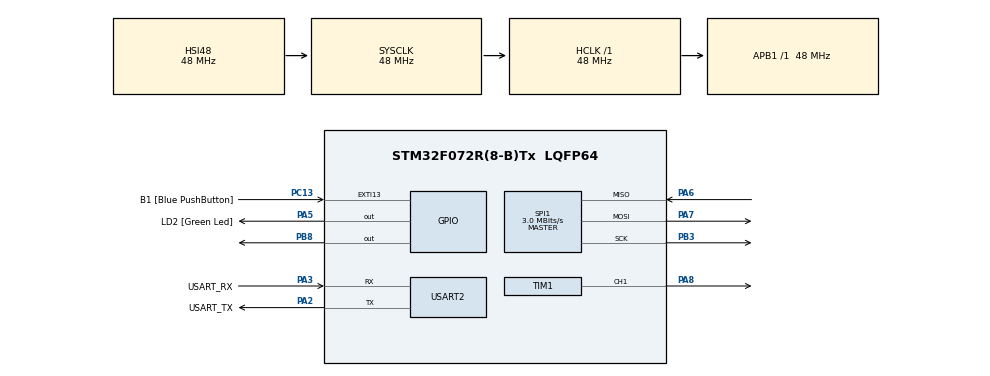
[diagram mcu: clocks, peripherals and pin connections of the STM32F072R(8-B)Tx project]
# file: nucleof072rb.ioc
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Mcu.Family=STM32F0
Mcu.Name=STM32F072R(8-B)Tx
Mcu.Package=LQFP64
PA13.GPIO_Label=TMS
PA13.Mode=Serial_Wire
PA13.Signal=SYS_SWDIO
PA14.GPIO_Label=TCK
PA14.Mode=Serial_Wire
PA14.Signal=SYS_SWCLK
PA2.GPIO_Label=USART_TX
PA2.GPIO_Mode=GPIO_MODE_AF_PP
PA2.GPIO_PuPd=GPIO_NOPULL
PA2.GPIO_Speed=GPIO_SPEED_FREQ_LOW
PA2.Mode=Asynchronous
PA2.Signal=USART2_TX
PA3.GPIO_Label=USART_RX
PA3.GPIO_Mode=GPIO_MODE_AF_PP
PA3.GPIO_PuPd=GPIO_NOPULL
PA3.GPIO_Speed=GPIO_SPEED_FREQ_LOW
PA3.Mode=Asynchronous
PA3.Signal=USART2_RX
PA5.GPIO_Label=LD2 [Green Led]
PA5.GPIO_Mode=GPIO_MODE_OUTPUT_PP
PA5.GPIO_PuPd=GPIO_NOPULL
PA5.GPIO_Speed=GPIO_SPEED_FREQ_LOW
PA5.Signal=GPIO_Output
PA6.Mode=Full_Duplex_Master
PA6.Signal=SPI1_MISO
PA7.Mode=Full_Duplex_Master
PA7.Signal=SPI1_MOSI
PA8.Signal=S_TIM1_CH1
PB3.Mode=Full_Duplex_Master
PB3.Signal=SPI1_SCK
PB8.Signal=GPIO_Output
PC13.GPIO_Label=B1 [Blue PushButton]
PC13.GPIO_ModeDefaultEXTI=GPIO_MODE_IT_FALLING
PC13.Signal=GPXTI13
PC14-OSC32_IN.Mode=LSE-External-Oscillator
PC14-OSC32_IN.Signal=RCC_OSC32_IN
PC15-OSC32_OUT.Mode=LSE-External-Oscillator
PC15-OSC32_OUT.Signal=RCC_OSC32_OUT
PF0-OSC_IN.Mode=HSE-External-Clock-Source
PF0-OSC_IN.Signal=RCC_OSC_IN
PF1-OSC_OUT.Signal=RCC_OSC_OUT
ProjectManager.HeapSize=0x200
ProjectManager.StackSize=0x400
ProjectManager.TargetToolchain=STM32CubeIDE
RCC.AHBFreq_Value=48000000
RCC.APB1Freq_Value=48000000
RCC.APB1TimFreq_Value=48000000
RCC.FLatency-AdvancedSettings=FLASH_LATENCY_1
RCC.HCLKFreq_Value=48000000
RCC.PLLDivider=RCC_PREDIV_DIV2
RCC.PLLMUL=RCC_PLL_MUL12
RCC.PREFETCH_ENABLE-AdvancedSettings=1
RCC.SYSCLKFreq_VALUE=48000000
RCC.SYSCLKSource=RCC_SYSCLKSOURCE_HSI48
SH.S_TIM1_CH1.0=TIM1_CH1,PWM Generation1 CH1
SPI1.BaudRatePrescaler=SPI_BAUDRATEPRESCALER_16
SPI1.CLKPhase=SPI_PHASE_1EDGE
SPI1.CLKPolarity=SPI_POLARITY_LOW
SPI1.CalculateBaudRate=3.0 MBits/s
SPI1.DataSize=SPI_DATASIZE_8BIT
SPI1.Direction=SPI_DIRECTION_2LINES
SPI1.Mode=SPI_MODE_MASTER
SPI1.VirtualType=VM_MASTER
TIM1.Channel-PWM\ Generation1\ CH1=TIM_CHANNEL_1
TIM1.Period=64000
TIM1.Prescaler=14
USART2.VirtualMode=VM_ASYNC
USART2.VirtualMode-Asynchronous=VM_ASYNC
VP_TIM1_VS_ClockSourceINT.Mode=Internal
board=NUCLEO-F072RB

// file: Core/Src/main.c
/* USER CODE BEGIN Header */
/**
  ******************************************************************************
  * @file           : main.c
  * @brief          : Main program body
  ******************************************************************************
  * @attention
  *
  * <h2><center>&copy; Copyright (c) 2021 STMicroelectronics.
  * All rights reserved.</center></h2>
  *
  * This software component is licensed by ST under BSD 3-Clause license,
  * the "License"; You may not use this file except in compliance with the
  * License. You may obtain a copy of the License at:
  *                        opensource.org/licenses/BSD-3-Clause
  *
  ******************************************************************************
  */
/* USER CODE END Header */
#include "main.h"
#include "spi.h"
#include "tim.h"
#include "usart.h"
#include "gpio.h"

/* USER CODE BEGIN Includes */
#include <stdio.h>
#include <stdlib.h>
/* USER CODE END Includes */

/* USER CODE BEGIN PD */
#define ADC_START_BIT		(1U<<0) // 0000 0001 in binary
#define ADC_TX_CONFIG		(1U<<7) // 1000 0000 in binary

#define MCP4000_GPIO_Port	GPIOB
#define MCP4000_GPIO_PIN	8

#define BITMASK_2BITS		(1U<<0 | 1U<<1)

/* USER CODE END PD */

/* USER CODE BEGIN PV */
static uint8_t adc_tx_[2];

/* USER CODE END PV */

void SystemClock_Config(void);

int main(void)
{

  /* USER CODE BEGIN 1 */
  adc_tx_[0] = ADC_START_BIT;
  adc_tx_[1] = ADC_TX_CONFIG;
  uint8_t adc_rx[3];
  uint16_t pwm_data, pwm_counts;
  uint8_t spi_error_code;
  /* USER CODE END 1 */

  /* MCU Configuration--------------------------------------------------------*/

  /* Reset of all peripherals, Initializes the Flash interface and the Systick. */
  HAL_Init();

  /* Configure the system clock */
  SystemClock_Config();

  /* Initialize all configured peripherals */
  MX_GPIO_Init();
  MX_USART2_UART_Init();
  MX_SPI1_Init();
  MX_TIM1_Init();
  /* USER CODE BEGIN 2 */
  HAL_TIM_PWM_Start (&htim1, TIM_CHANNEL_1);
  /* USER CODE END 2 */

  /* Infinite loop */
  /* USER CODE BEGIN WHILE */
  while (1)
  {
	  // 1. Begin transaction by pulling CS low
	  HAL_GPIO_WritePin (MCP4000_GPIO_Port, MCP4000_GPIO_PIN, GPIO_PIN_RESET);

	  // 2. Receive transmission from the ADC MCP4000 via SPI
	  spi_error_code = HAL_SPI_TransmitReceive(&hspi1, adc_tx_, adc_rx, sizeof(adc_tx_), 100); // 100 ms timeout
	  if (spi_error_code != HAL_OK)
		  printf("SPI HAL Error Code: %d", spi_error_code);
	  else
		  printf("SPI Transmit & Receive Successful.");

	  // 3.End transaction by pulling CS high
	  HAL_GPIO_WritePin (MCP4000_GPIO_Port, MCP4000_GPIO_PIN, GPIO_PIN_SET);

	  //4. Combine the two 8-bit packets (adc_rx array index 1 and 2) into one value
	  pwm_data = ((adc_rx[1] & BITMASK_2BITS) << 8 | adc_rx[2]);

	  //5. Convert ADC value into PWM signal
	  pwm_counts = (uint16_t)(((pwm_data / 1023.0) * 3200.0) + 3200.0);
	  __HAL_TIM_SET_COMPARE(&htim1, TIM_CHANNEL_1, pwm_counts);

	  HAL_Delay(10);
    /* USER CODE END WHILE */

  }
}

void SystemClock_Config(void)
{
  RCC_OscInitTypeDef RCC_OscInitStruct = {0};
  RCC_ClkInitTypeDef RCC_ClkInitStruct = {0};
  RCC_PeriphCLKInitTypeDef PeriphClkInit = {0};

  /** Initializes the RCC Oscillators according to the specified parameters
  * in the RCC_OscInitTypeDef structure.
  */
  RCC_OscInitStruct.OscillatorType = RCC_OSCILLATORTYPE_HSI48;
  RCC_OscInitStruct.HSI48State = RCC_HSI48_ON;
  RCC_OscInitStruct.PLL.PLLState = RCC_PLL_NONE;
  if (HAL_RCC_OscConfig(&RCC_OscInitStruct) != HAL_OK)
  {
    Error_Handler();
  }

  /** Initializes the CPU, AHB and APB buses clocks
  */
  RCC_ClkInitStruct.ClockType = RCC_CLOCKTYPE_HCLK|RCC_CLOCKTYPE_SYSCLK
                              |RCC_CLOCKTYPE_PCLK1;
  RCC_ClkInitStruct.SYSCLKSource = RCC_SYSCLKSOURCE_HSI48;
  RCC_ClkInitStruct.AHBCLKDivider = RCC_SYSCLK_DIV1;
  RCC_ClkInitStruct.APB1CLKDivider = RCC_HCLK_DIV1;

  if (HAL_RCC_ClockConfig(&RCC_ClkInitStruct, FLASH_LATENCY_1) != HAL_OK)
  {
    Error_Handler();
  }
  PeriphClkInit.PeriphClockSelection = RCC_PERIPHCLK_USART2;
  PeriphClkInit.Usart2ClockSelection = RCC_USART2CLKSOURCE_PCLK1;
  if (HAL_RCCEx_PeriphCLKConfig(&PeriphClkInit) != HAL_OK)
  {
    Error_Handler();
  }
}

void Error_Handler(void)
{
  __disable_irq();
  while (1)
  {
  }
}
